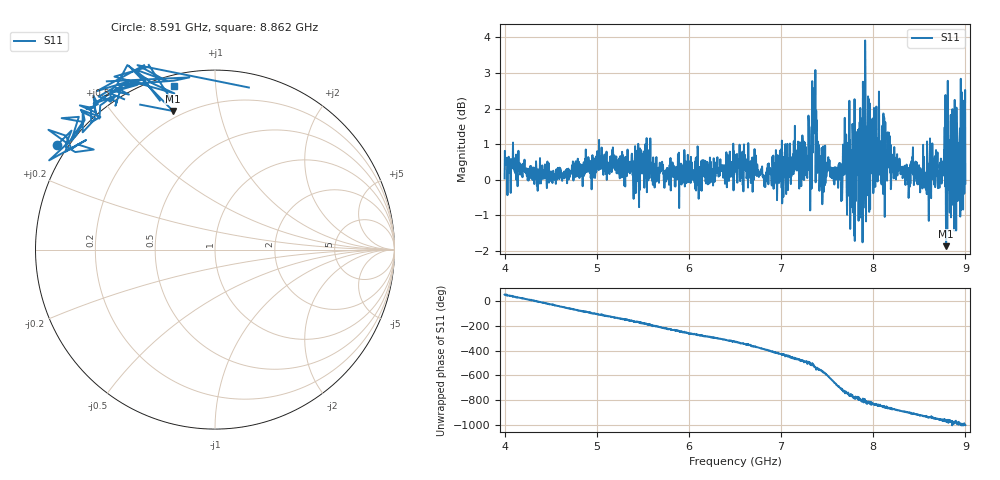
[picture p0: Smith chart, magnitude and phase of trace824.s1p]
! Created with skrf 1.8.0 (http://scikit-rf.org).
# Hz S RI R 50.0
!freq ReS11 ImS11
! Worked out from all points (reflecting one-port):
!   1601 points, 4 GHz to 9 GHz, reference 50 ohm
!   lowest |S11| = -1.9 dB at 8.791 GHz (marker M1), VSWR 9.36, Z = 8.23 + j36.4 ohm
!   phase of S11 starts at 52 deg and turns -1052 deg over the sweep
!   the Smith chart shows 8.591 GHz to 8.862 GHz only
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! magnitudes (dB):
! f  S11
! 4 GHz  0.0
! 4.625 GHz  0.0
! 5.25 GHz  0.0
! 5.875 GHz  0.2
! 6.5 GHz  0.2
! 6.825 GHz  0.0
! 7.125 GHz  0.4
! 7.306 GHz  1.5
! 7.362 GHz  2.6
! 7.438 GHz  -0.2
! 7.644 GHz  0.0
! 7.684 GHz  0.3
! 7.75 GHz  -1.4
! 7.788 GHz  0.8
! 7.891 GHz  1.5
! 7.928 GHz  1.0
! 7.944 GHz  2.3
! 7.962 GHz  2.1
! 7.981 GHz  0.6
! 8.05 GHz  1.2
! 8.066 GHz  1.2
! 8.375 GHz  0.3
! 8.441 GHz  -0.1
! 8.584 GHz  1.1
! 8.791 GHz  -1.9
! 8.841 GHz  1.8
! 8.972 GHz  0.6
! 9 GHz  -0.1
